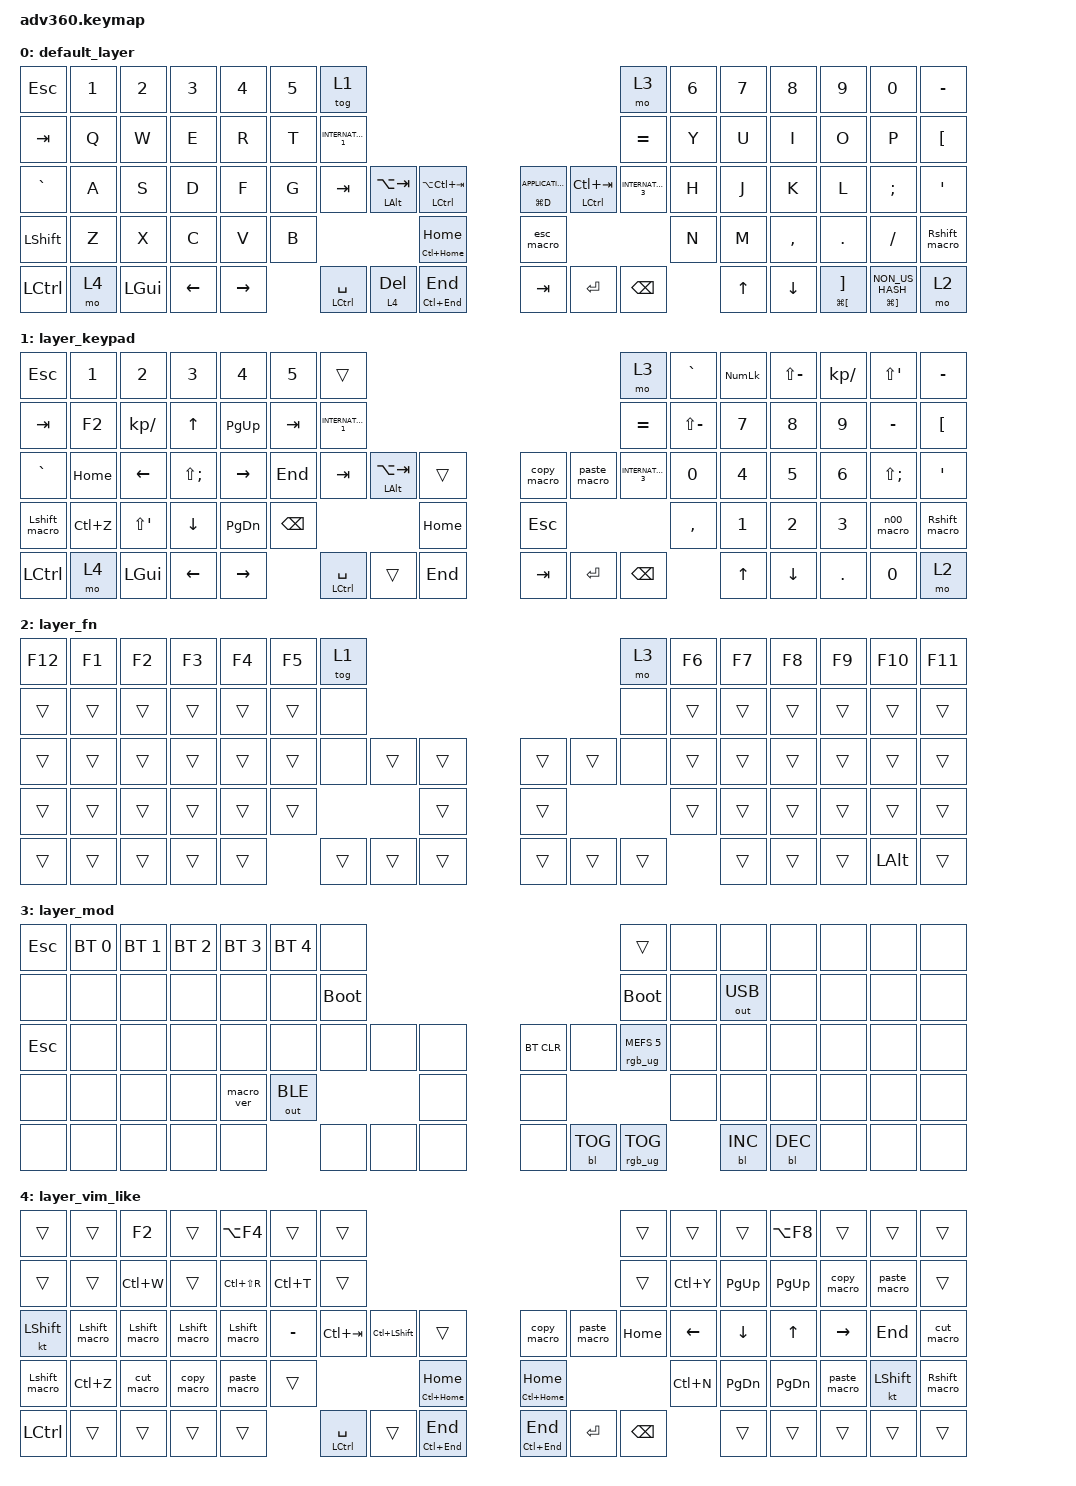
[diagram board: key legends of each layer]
#include <dt-bindings/zmk/stp.h>
#include <behaviors.dtsi>
#include <dt-bindings/zmk/backlight.h>
#include <dt-bindings/zmk/bt.h>
#include <dt-bindings/zmk/keys.h>
#include <dt-bindings/zmk/keys.h>
#include <dt-bindings/zmk/outputs.h>
#include <dt-bindings/zmk/rgb.h>

/ {
    behaviors {
        #include "macros.dtsi"
      #include "version.dtsi"

        hm: homerow_mods {
            compatible = "zmk,behavior-hold-tap";
            label = "HOMEROW_MODS";
            #binding-cells = <2>;
            tapping-term-ms = <200>;
            quick_tap_ms = <175>;
            flavor = "tap-preferred";
            bindings = <&kp>, <&kp>;
        };
    };

    combos {
        compatible = "zmk,combos";

        combo_japanese1 {
            bindings = <&kp GRAVE>;
            key-positions = <70 41>;
        };

        combo_minus {
            bindings = <&kp MINUS>;
            key-positions = <70 44>;
        };

        combo_ltu {
            bindings = <&ltu_macro>;
            key-positions = <69 44>;
        };

        combo_keypad {
            bindings = <&tog 1>;
            key-positions = <42 70>;
        };

        combo_japanese2 {
            bindings = <&kp GRAVE>;
            key-positions = <41 69>;
        };

        combo_keypad2 {
            bindings = <&tog 1>;
            key-positions = <42 69>;
        };
    };

    macros {
        ltu_macro: ltu_macro {
            compatible = "zmk,behavior-macro";
            #binding-cells = <0>;
            bindings = <&macro_tap>, <&kp L &kp T &kp U>;

            label = "LTU_MACRO";
        };

        n00_macro: n00_macro {
            compatible = "zmk,behavior-macro";
            #binding-cells = <0>;
            bindings = <&macro_tap>, <&kp N0 &kp N0>;

            label = "N00_MACRO";
        };

        esc_macro: esc_macro {
            compatible = "zmk,behavior-macro";
            #binding-cells = <0>;
            bindings = <&macro_release>, <&kp LSHIFT>, <&macro_tap>, <&kp ESC>;

            label = "ESC_MACRO";
        };

        copy_macro: copy_macro {
            compatible = "zmk,behavior-macro";
            #binding-cells = <0>;
            bindings =
                <&macro_release>,
                <&kp LSHIFT>,
                <&macro_tap>,
                <&kp LC(C)>;

            label = "COPY_MACRO";
        };

        paste_macro: paste_macro {
            compatible = "zmk,behavior-macro";
            #binding-cells = <0>;
            bindings =
                <&macro_release>,
                <&kp LSHIFT>,
                <&macro_tap>,
                <&kp LC(V)>;

            label = "PASTE_MACRO";
        };

        cut_macro: cut_macro {
            compatible = "zmk,behavior-macro";
            #binding-cells = <0>;
            bindings =
                <&macro_release>,
                <&kp LSHIFT>,
                <&macro_tap>,
                <&kp LC(X)>;

            label = "CUT_MACRO";
        };

        Lshift_macro: Lshift_macro {
            compatible = "zmk,behavior-macro";
            #binding-cells = <0>;
            bindings =
                <&macro_release>,
                <&kp LSHIFT>,
                <&macro_press>,
                <&kp LSHIFT>,
                <&macro_pause_for_release>,
                <&macro_release>,
                <&kp LSHIFT>;

            label = "LSHIFT_MACRO";
        };

        Rshift_macro: Rshift_macro {
            compatible = "zmk,behavior-macro";
            #binding-cells = <0>;
            bindings =
                <&macro_release>,
                <&kp LSHIFT>,
                <&macro_press>,
                <&kp RSHIFT>,
                <&macro_pause_for_release>,
                <&macro_release>,
                <&kp RSHIFT>;

            label = "RSHIFT_MACRO";
        };
    };

    keymap {
        compatible = "zmk,keymap";

        default_layer {
            bindings = <
&kp ESC     &kp N1  &kp N2    &kp N3    &kp N4     &kp N5  &tog 1                                                                                                        &mo 3                &kp N6  &kp N7  &kp N8     &kp N9                              &kp N0                             &kp MINUS
&kp TAB     &kp Q   &kp W     &kp E     &kp R      &kp T   &kp INTERNATIONAL_1                                                                                           &kp EQUAL            &kp Y   &kp U   &kp I      &kp O                               &kp P                              &kp LEFT_BRACKET
&kp GRAVE   &kp A   &kp S     &kp D     &kp F      &kp G   &kp TAB              &mt LALT LA(TAB)  &mt LCTRL LA(LC(TAB))      &mt LG(D) K_APPLICATION  &mt LCTRL LC(TAB)  &kp INTERNATIONAL_3  &kp H   &kp J   &kp K      &kp L                               &kp SEMI                           &kp SQT
&kp LSHIFT  &kp Z   &kp X     &kp C     &kp V      &kp B                                          &mt LC(HOME) HOME          &esc_macro                                                       &kp N   &kp M   &kp COMMA  &kp DOT                             &kp FSLH                           &Rshift_macro
&kp LCTRL   &mo 4   &kp LGUI  &kp LEFT  &kp RIGHT          &mt LCTRL SPACE      &lt 4 DELETE      &mt LC(END) END            &kp TAB                  &kp ENTER          &kp BSPC                     &kp UP  &kp DOWN   &mt LG(LEFT_BRACKET) RIGHT_BRACKET  &mt LG(RIGHT_BRACKET) NON_US_HASH  &mo 2
            >;
        };

        layer_keypad {
            bindings = <
&kp ESC        &kp N1     &kp N2                &kp N3             &kp N4           &kp N5    &trans                                                                              &mo 3                &kp GRAVE      &kp KP_NUMLOCK  &kp LS(MINUS)  &kp KP_DIVIDE  &kp LS(SINGLE_QUOTE)  &kp MINUS
&kp TAB        &kp F2     &kp KP_DIVIDE         &kp UP             &kp PG_UP        &kp TAB   &kp INTERNATIONAL_1                                                                 &kp EQUAL            &kp LS(MINUS)  &kp N7          &kp N8         &kp N9         &kp MINUS             &kp LEFT_BRACKET
&kp GRAVE      &kp HOME   &kp LEFT_ARROW        &kp LS(SEMICOLON)  &kp RIGHT_ARROW  &kp END   &kp TAB              &mt LEFT_ALT LA(TAB)  &trans        &copy_macro  &paste_macro  &kp INTERNATIONAL_3  &kp N0         &kp N4          &kp N5         &kp N6         &kp LS(SEMICOLON)     &kp SQT
&Lshift_macro  &kp LC(Z)  &kp LS(SINGLE_QUOTE)  &kp DOWN           &kp PG_DN        &kp BSPC                                             &kp HOME      &kp ESC                                         &kp COMMA      &kp N1          &kp N2         &kp N3         &n00_macro            &Rshift_macro
&kp LCTRL      &mo 4      &kp LGUI              &kp LEFT           &kp RIGHT                  &mt LCTRL SPACE      &trans                &kp END       &kp TAB      &kp ENTER     &kp BACKSPACE                       &kp UP          &kp DOWN       &kp PERIOD     &kp N0                &mo 2
            >;
        };

        layer_fn {
            bindings = <
&kp F12  &kp F1  &kp F2  &kp F3  &kp F4  &kp F5  &tog 1                                      &mo 3   &kp F6  &kp F7  &kp F8  &kp F9  &kp F10       &kp F11
&trans   &trans  &trans  &trans  &trans  &trans  &none                                       &none   &trans  &trans  &trans  &trans  &trans        &trans
&trans   &trans  &trans  &trans  &trans  &trans  &none   &trans  &trans      &trans  &trans  &none   &trans  &trans  &trans  &trans  &trans        &trans
&trans   &trans  &trans  &trans  &trans  &trans                  &trans      &trans                  &trans  &trans  &trans  &trans  &trans        &trans
&trans   &trans  &trans  &trans  &trans          &trans  &trans  &trans      &trans  &trans  &trans          &trans  &trans  &trans  &kp LEFT_ALT  &trans
            >;
        };

        layer_mod {
            bindings = <
&kp ESC  &bt BT_SEL 0  &bt BT_SEL 1  &bt BT_SEL 2  &bt BT_SEL 3  &bt BT_SEL 4  &none                                                  &trans                  &none  &none         &none       &none  &none  &none
&none    &none         &none         &none         &none         &none         &bootloader                                            &bootloader             &none  &out OUT_USB  &none       &none  &none  &none
&kp ESC  &none         &none         &none         &none         &none         &none        &none  &none      &bt BT_CLR  &none       &rgb_ug RGB_MEFS_CMD 5  &none  &none         &none       &none  &none  &none
&none    &none         &none         &none         &macro_ver    &out OUT_BLE                      &none      &none                                           &none  &none         &none       &none  &none  &none
&none    &none         &none         &none         &none                       &none        &none  &none      &none       &bl BL_TOG  &rgb_ug RGB_TOG                &bl BL_INC    &bl BL_DEC  &none  &none  &none
            >;
        };

        layer_vim_like {
            bindings = <
&trans         &trans         &kp F2         &trans         &kp LA(F4)     &trans     &trans                                                                                       &trans    &trans     &trans     &kp LA(F8)  &trans        &trans        &trans
&trans         &trans         &kp LC(W)      &trans         &kp LC(LS(R))  &kp LC(T)  &trans                                                                                       &trans    &kp LC(Y)  &kp PG_UP  &kp PG_UP   &copy_macro   &paste_macro  &trans
&kt LSHIFT     &Lshift_macro  &Lshift_macro  &Lshift_macro  &Lshift_macro  &kp MINUS  &kp LC(TAB)      &kp LC(LEFT_SHIFT)  &trans                 &copy_macro        &paste_macro  &kp HOME  &kp LEFT   &kp DOWN   &kp UP      &kp RIGHT     &kp END       &cut_macro
&Lshift_macro  &kp LC(Z)      &cut_macro     &copy_macro    &paste_macro   &trans                                          &mt LC(HOME) HOME      &mt LC(HOME) HOME                          &kp LC(N)  &kp PG_DN  &kp PG_DN   &paste_macro  &kt LSHIFT    &Rshift_macro
&kp LCTRL      &trans         &trans         &trans         &trans                    &mt LCTRL SPACE  &trans              &mt LC(END) END        &mt LC(END) END    &kp ENTER     &kp BSPC             &trans     &trans      &trans        &trans        &trans
            >;
        };

        extra1 {
            display-name = "Red";
            status = "reserved";
        };

        extra2 {
            display-name = "Purple";
            status = "reserved";
        };

        extra3 {
            display-name = "Cyan";
            status = "reserved";
        };

        extra4 {
            display-name = "Yellow";
            status = "reserved";
        };
    };
};
